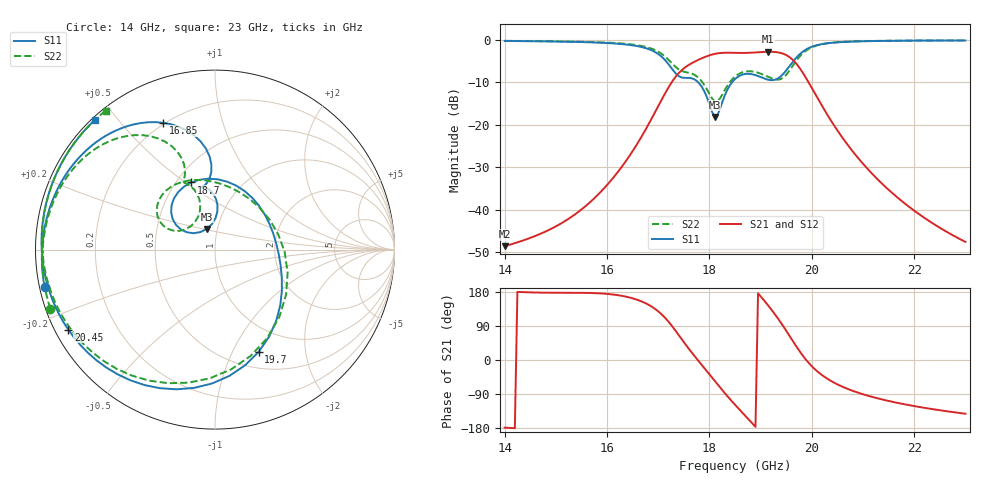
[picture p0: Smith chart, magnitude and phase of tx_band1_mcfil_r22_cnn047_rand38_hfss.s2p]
! Touchstone file exported from HFSS 3D Layout Design 2026.1.0
!  File:  D:/Work/SIM/ADS_AUTO_SIM/projects/RFSOC_RF/TX_Fillter.aedt
!  Generated:  01:35:57 AM Aug 31, 2026
!  Design:  TX_BAND1_MCFIL_R22_CNN047
!  Project:  TX_Fillter
# GHz S MA R 50.000000
! Terminal data exported
! Port[1] = Port1
! Port[2] = Port2
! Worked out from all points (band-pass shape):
!   181 points, 14 GHz to 23 GHz, reference 50 ohm
!   highest |S21| = -2.79 dB at 19.15 GHz (marker M1); lowest = -48.6 dB at 14 GHz (marker M2)
!   |S21| within 3 dB of the highest: 17.61 GHz to 19.71 GHz (2.099 GHz wide, 11.2 % of centre)
!   lowest |S11| = -18.1 dB at 18.1 GHz (marker M3), VSWR 1.28, Z = 44.5 + j10.4 ohm
!   |S11| at or under -10 dB: 17.78 GHz to 18.44 GHz (660.1 MHz wide, 3.64 % of centre)
!   |S22| runs from -14.5 to -0.1 dB; largest |S21 - S12| = 1.3e-14
!   S11 on the Smith chart (normalised r, x): 14 GHz: 0.01, -0.11; 16.85 GHz: 0.19, +0.65; 18.7 GHz: 0.59, +0.53; 19.7 GHz: 0.69, -1.27; 20.45 GHz: 0.04, -0.25; 23 GHz: 0.01, +0.44
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14  0.9722 -167.6  0.003725 -178.5  0.003725 -178.5  0.9747 -160.3
15.5  0.9436 161.5  0.01006 177.3  0.01006 177.3  0.9502 170.7
16.25  0.8974 139.5  0.02984 170.3  0.02984 170.3  0.911 150.9
16.85  0.7638 112.3  0.1118 142.8  0.1118 142.8  0.7969 127.3
17  0.6822 103.3  0.1655 128.5  0.1655 128.5  0.7264 119.6
17.25  0.4735 92.4  0.308 93.0  0.308 93.0  0.5442 110.1
17.5  0.3575 101.2  0.4616 47.3  0.4616 47.3  0.4229 114.4
17.8  0.3085 91.5  0.5887 -4.7  0.5887 -4.7  0.3516 109.0
18.1  0.124 111.7  0.6833 -54.7  0.6833 -54.7  0.1894 126.5
18.3  0.2216 149.4  0.7056 -87.4  0.7056 -87.4  0.2562 155.6
18.5  0.3461 134.3  0.7038 -118.0  0.7038 -118.0  0.3694 150.0
18.7  0.3968 109.5  0.7026 -147.1  0.7026 -147.1  0.4234 134.4
18.95  0.3755 71.7  0.7152 175.9  0.7152 175.9  0.4107 110.1
19.15  0.3392 35.2  0.725 143.6  0.725 143.6  0.3668 84.2
19.45  0.4025 -22.4  0.6844 87.6  0.6844 87.6  0.3626 13.6
19.7  0.6196 -66.9  0.523 35.4  0.523 35.4  0.5722 -59.4
19.85  0.7462 -91.3  0.3879 6.9  0.3879 6.9  0.7176 -92.3
20  0.8307 -111.6  0.2717 -16.4  0.2717 -16.4  0.8174 -116.8
20.2  0.8931 -132.5  0.1672 -39.9  0.1672 -39.9  0.8908 -139.9
20.45  0.9312 -151.4  0.0954 -60.9  0.0954 -60.9  0.9339 -159.5
21.5  0.9753 165.2  0.01718 -108.1  0.01718 -108.1  0.9778 158.7
23  0.9848 132.7  0.004184 -141.9  0.004184 -141.9  0.9851 128.2
